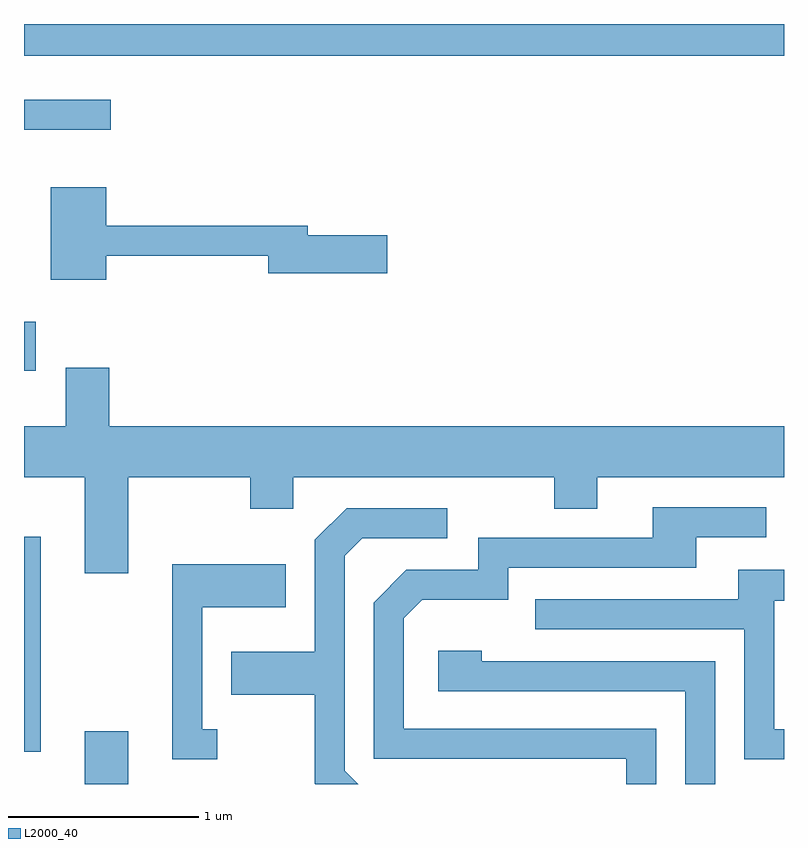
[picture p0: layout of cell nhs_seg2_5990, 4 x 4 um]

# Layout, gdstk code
import gdstk
lib = gdstk.Library(unit=1e-6, precision=1e-09)
def R(c, l, rs):  # rectangles x0, y0, x1, y1
    for r in rs: c.add(gdstk.rectangle(r[:2], r[2:], *l))
def P(c, l, *ps):  # polygons
    for p in ps: c.add(gdstk.Polygon(p, *l))
L2000_40 = (2000, 40)

nhs_seg2_5990 = lib.new_cell('nhs_seg2_5990')
R(nhs_seg2_5990, L2000_40, [(361.931,1057.802,362.159,1058.079), (361.611,1057.971,361.699,1059.104), (361.611,1059.976,361.674,1060.234), (361.611,1061.246,362.068,1061.404), (361.611,1061.636,365.611,1061.802)])
P(nhs_seg2_5990, L2000_40, [(362.044,1060.581),(362.896,1060.581),(362.896,1060.491),(363.524,1060.491),(363.524,1060.689),(363.104,1060.689),(363.104,1060.739),(362.044,1060.739),(362.044,1060.944),(361.751,1060.944),(361.751,1060.456),(362.044,1060.456)],
  [(362.159,1059.416),(362.801,1059.416),(362.801,1059.251),(363.029,1059.251),(363.029,1059.416),(364.401,1059.416),(364.401,1059.251),(364.629,1059.251),(364.629,1059.416),(365.611,1059.416),(365.611,1059.684),(362.059,1059.684),(362.059,1059.994),(361.831,1059.994),(361.831,1059.684),(361.611,1059.684),(361.611,1059.416),(361.931,1059.416),(361.931,1058.911),(362.159,1058.911)],
  [(364.939,1058.094),(363.609,1058.094),(363.609,1058.674),(363.707,1058.771),(364.159,1058.771),(364.159,1058.941),(365.149,1058.941),(365.149,1059.101),(365.518,1059.101),(365.518,1059.259),(364.921,1059.259),(364.921,1059.099),(364.001,1059.099),(364.001,1058.929),(363.624,1058.929),(363.451,1058.757),(363.451,1057.936),(364.781,1057.936),(364.781,1057.802),(364.939,1057.802)],
  [(363.299,1057.872),(363.299,1059.004),(363.392,1059.096),(363.838,1059.096),(363.838,1059.254),(363.309,1059.254),(363.141,1059.087),(363.141,1058.499),(362.701,1058.499),(362.701,1058.271),(363.141,1058.271),(363.141,1057.804),(363.143,1057.802),(363.369,1057.802)],
  [(362.628,1058.089),(362.549,1058.089),(362.549,1058.731),(362.989,1058.731),(362.989,1058.959),(362.391,1058.959),(362.391,1057.931),(362.628,1057.931)],
  [(365.611,1058.089),(365.559,1058.089),(365.559,1058.766),(365.611,1058.766),(365.611,1058.929),(365.371,1058.929),(365.371,1058.774),(364.303,1058.774),(364.303,1058.616),(365.401,1058.616),(365.401,1057.931),(365.611,1057.931)],
  [(365.249,1058.449),(364.019,1058.449),(364.019,1058.504),(363.791,1058.504),(363.791,1058.291),(365.091,1058.291),(365.091,1057.802),(365.249,1057.802)])

lib.write_gds('nhs_seg2_5990.gds')
